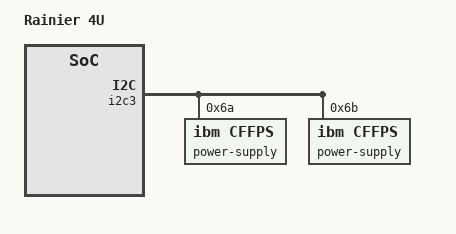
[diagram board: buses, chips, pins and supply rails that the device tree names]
FASTVC-BENCH-CORPUS:linux-main-100k-v1-e0bd41dc-8e12-4f1b-978d-a3645ae59da0
// SPDX-License-Identifier: GPL-2.0-or-later
// Copyright 2020 IBM Corp.
/dts-v1/;

#include "aspeed-bmc-ibm-rainier.dts"

/ {
	model = "Rainier 4U";
};

&i2c3 {
	power-supply@6a {
		compatible = "ibm,cffps";
		reg = <0x6a>;
	};

	power-supply@6b {
		compatible = "ibm,cffps";
		reg = <0x6b>;
	};
};

&fan0 {
	tach-pulses = <4>;
};

&fan1 {
	tach-pulses = <4>;
};

/* bench 18671.3.0 dd5a2bae228e */
/* bench 18671.3.1 08f631ee0c2e */
/* bench 18671.3.2 0b8af5d4db66 */
/* bench 18671.3.3 100b5435e062 */
/* bench 18671.3.4 e46d58a9d743 */
/* bench 18671.3.5 c4c6c3620136 */
/* bench 18671.3.6 aee021b5a4c4 */
/* bench 18671.3.7 caba6a4703f5 */
/* bench 18671.3.8 571d00b335e6 */
/* bench 18671.3.9 6ecc80dbc56f */
/* bench 18671.3.10 5babc212b428 */
/* bench 18671.3.11 ea8ff569a55b */
/* bench 18671.3.12 e1c0ec5868d3 */
&fan2 {
	tach-pulses = <4>;
};

&fan3 {
	tach-pulses = <4>;
};
